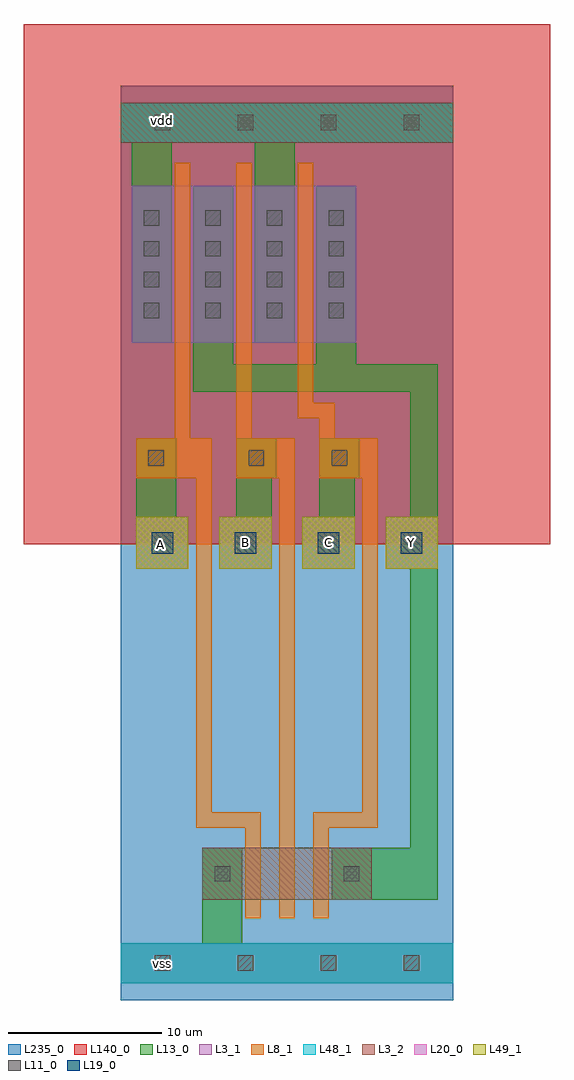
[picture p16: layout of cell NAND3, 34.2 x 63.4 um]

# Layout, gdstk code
import gdstk
lib = gdstk.Library(unit=1e-6, precision=1e-09)
def R(c, l, rs):  # rectangles x0, y0, x1, y1
    for r in rs: c.add(gdstk.rectangle(r[:2], r[2:], *l))
def A(c, l, x, y, w, h, nx, ny, dx, dy):  # array of equal rectangles
    R(c, l, [(x+i*dx, y+j*dy, x+i*dx+w, y+j*dy+h) for i in range(nx) for j in range(ny)])
def P(c, l, *ps):  # polygons
    for p in ps: c.add(gdstk.Polygon(p, *l))
L3_1 = (3, 1)
L3_2 = (3, 2)
L8_1 = (8, 1)
L11_0 = (11, 0)
L13_0 = (13, 0)
L19_0 = (19, 0)
L20_0 = (20, 0)
L48_1 = (48, 1)
L49_1 = (49, 1)
L140_0 = (140, 0)
L235_0 = (235, 0)

nand3 = lib.new_cell('NAND3')
R(nand3, L3_1, [(0,1.1,21.6,3.7), (0.7,42.7,7.3,52.9), (4.7,42.7,11.3,52.9), (11.3,42.7,15.3,52.9)])
R(nand3, L3_2, [(5.3,6.5,16.3,9.9), (0,55.7,21.6,58.3)])
P(nand3, L8_1, [(8.1,5.3),(8.1,11.2),(4.9,11.2),(4.9,33.9),(1,33.9),(1,36.5),(3.5,36.5),(3.5,54.4),(4.5,54.4),(4.5,36.5),(5.9,36.5),(5.9,12.2),(9.1,12.2),(9.1,5.3)],
  [(10.3,5.3),(10.3,33.9),(7.5,33.9),(7.5,54.4),(8.5,54.4),(8.5,36.5),(11.3,36.5),(11.3,5.3)],
  [(12.5,5.3),(12.5,12.2),(15.7,12.2),(15.7,33.9),(12.9,33.9),(12.9,37.8),(11.5,37.8),(11.5,54.4),(12.5,54.4),(12.5,38.8),(13.9,38.8),(13.9,36.5),(16.7,36.5),(16.7,11.2),(13.5,11.2),(13.5,5.3)])
A(nand3, L11_0, 1.5, 44.3, 1, 1, 4, 4, 4, 2)
R(nand3, L11_0, [(2.2,1.9,3.2,2.9), (7.6,1.9,8.6,2.9), (7.6,1.9,8.6,2.9), (13,1.9,14,2.9), (13,1.9,14,2.9), (18.4,1.9,19.4,2.9), (6.1,7.7,7.1,8.7), (14.5,7.7,15.5,8.7), (1.8,34.7,2.8,35.7), (8.3,34.7,9.3,35.7), (13.7,34.7,14.7,35.7), (2.2,56.5,3.2,57.5), (2.2,56.5,3.2,57.5), (7.6,56.5,8.6,57.5), (7.6,56.5,8.6,57.5), (7.6,56.5,8.6,57.5), (7.6,56.5,8.6,57.5), (13,56.5,14,57.5), (13,56.5,14,57.5), (18.4,56.5,19.4,57.5)])
R(nand3, L13_0, [(5.3,3.7,7.9,9.9), (0.7,42.7,3.3,55.7), (8.7,42.7,11.3,55.7), (0,55.7,21.6,58.3)])
P(nand3, L13_0, [(1,28),(1,36.5),(3.6,36.5),(3.6,31.4),(4.4,31.4),(4.4,28)],
  [(6.4,28),(6.4,31.4),(7.5,31.4),(7.5,36.5),(10.1,36.5),(10.1,33.9),(9.8,33.9),(9.8,28)],
  [(11.8,28),(11.8,31.4),(12.9,31.4),(12.9,36.5),(15.5,36.5),(15.5,33.9),(15.2,33.9),(15.2,28)],
  [(13.7,6.5),(13.7,9.9),(18.8,9.9),(18.8,28),(17.2,28),(17.2,31.4),(18.8,31.4),(18.8,39.5),(4.7,39.5),(4.7,52.9),(7.3,52.9),(7.3,41.3),(12.7,41.3),(12.7,52.9),(15.3,52.9),(15.3,41.3),(20.6,41.3),(20.6,6.5)],
  [(0,1.1),(0,3.7),(0.7,3.7),(3.3,3.7),(21.6,3.7),(21.6,1.1)])
A(nand3, L19_0, 2, 29, 1.4, 1.4, 4, 1, 5.4, 0)
A(nand3, L20_0, 1, 28, 3.4, 3.4, 4, 1, 5.4, 0)
R(nand3, L48_1, [(0,1.1,21.6,3.7), (0,55.7,21.6,58.3)])
A(nand3, L49_1, 1, 28, 3.4, 3.4, 4, 1, 5.4, 0)
R(nand3, L140_0, [(-6.3,29.6,27.9,63.4)])
R(nand3, L235_0, [(0,0,21.6,59.4)])
nand3.add(gdstk.Label('Y', (18.9,29.7), layer=49, texttype=0))
nand3.add(gdstk.Label('C', (13.5,29.7), layer=49, texttype=0))
nand3.add(gdstk.Label('A', (2.6,29.6), layer=49, texttype=0))
nand3.add(gdstk.Label('B', (8.1,29.7), layer=49, texttype=0))
nand3.add(gdstk.Label('vss', (2.7,2.4), layer=48, texttype=0))
nand3.add(gdstk.Label('vdd', (2.7,57.1), layer=48, texttype=0))

lib.write_gds('NAND3.gds')
